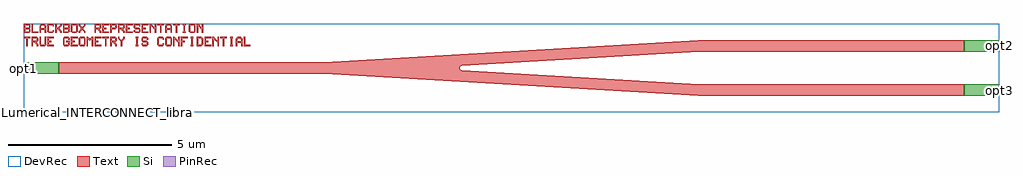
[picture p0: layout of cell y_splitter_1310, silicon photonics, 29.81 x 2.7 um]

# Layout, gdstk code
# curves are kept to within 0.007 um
import gdstk
lib = gdstk.Library(unit=1e-6, precision=1e-09)
def R(c, l, rs):  # rectangles x0, y0, x1, y1
    for r in rs: c.add(gdstk.rectangle(r[:2], r[2:], *l))
def P(c, l, *ps):  # polygons
    for p in ps: c.add(gdstk.Polygon(p, *l))
Si = (1, 0)
PinRec = (1, 10)
Text = (10, 0)
DevRec = (68, 0)

y_splitter_1310 = lib.new_cell('y_splitter_1310')
R(y_splitter_1310, Si, [(28.725,-0.85,29.791,-0.5), (0,-0.175,1.066,0.175), (28.725,0.5,29.791,0.85)])
P(y_splitter_1310, Text, [(0,1.07),(0,1.35),(0.16,1.35),(0.2,1.31),(0.04,1.31),(0.04,1.23),(0.14,1.23),(0.16,1.25),(0.16,1.29),(0.14,1.31),(0.2,1.31),(0.2,1.23),(0.18,1.21),(0.2,1.19),(0.04,1.19),(0.04,1.11),(0.14,1.11),(0.16,1.13),(0.16,1.17),(0.14,1.19),(0.2,1.19),(0.2,1.11),(0.16,1.07)],
  [(0.24,1.07),(0.24,1.35),(0.28,1.35),(0.28,1.11),(0.44,1.11),(0.44,1.07)],
  [(0.48,1.07),(0.48,1.29),(0.54,1.35),(0.62,1.35),(0.66,1.31),(0.56,1.31),(0.52,1.27),(0.52,1.21),(0.64,1.21),(0.64,1.27),(0.6,1.31),(0.66,1.31),(0.68,1.29),(0.68,1.07),(0.64,1.07),(0.64,1.17),(0.52,1.17),(0.52,1.07)],
  [(0.76,1.07),(0.72,1.11),(0.72,1.31),(0.76,1.35),(0.88,1.35),(0.92,1.31),(0.92,1.27),(0.88,1.27),(0.88,1.29),(0.86,1.31),(0.78,1.31),(0.76,1.29),(0.76,1.13),(0.78,1.11),(0.86,1.11),(0.88,1.13),(0.88,1.15),(0.92,1.15),(0.92,1.11),(0.88,1.07)],
  [(0.96,1.07),(0.96,1.35),(1,1.35),(1,1.23),(1.04,1.23),(1.12,1.31),(1.12,1.35),(1.16,1.35),(1.16,1.29),(1.08,1.21),(1.16,1.13),(1.16,1.07),(1.12,1.07),(1.12,1.11),(1.04,1.19),(1,1.19),(1,1.07)],
  [(1.2,1.07),(1.2,1.35),(1.36,1.35),(1.4,1.31),(1.24,1.31),(1.24,1.23),(1.34,1.23),(1.36,1.25),(1.36,1.29),(1.34,1.31),(1.4,1.31),(1.4,1.23),(1.38,1.21),(1.4,1.19),(1.24,1.19),(1.24,1.11),(1.34,1.11),(1.36,1.13),(1.36,1.17),(1.34,1.19),(1.4,1.19),(1.4,1.11),(1.36,1.07)],
  [(1.48,1.07),(1.44,1.11),(1.44,1.31),(1.48,1.35),(1.6,1.35),(1.64,1.31),(1.64,1.21),(1.6,1.21),(1.6,1.29),(1.58,1.31),(1.5,1.31),(1.48,1.29),(1.48,1.13),(1.5,1.11),(1.58,1.11),(1.6,1.13),(1.6,1.21),(1.64,1.21),(1.64,1.11),(1.6,1.07)],
  [(1.68,1.07),(1.68,1.13),(1.74,1.19),(1.74,1.23),(1.68,1.29),(1.68,1.35),(1.72,1.35),(1.72,1.31),(1.78,1.25),(1.84,1.31),(1.84,1.35),(1.88,1.35),(1.88,1.29),(1.82,1.23),(1.82,1.19),(1.88,1.13),(1.88,1.07),(1.84,1.07),(1.84,1.11),(1.78,1.17),(1.72,1.11),(1.72,1.07)],
  [(2.16,1.07),(2.16,1.35),(2.32,1.35),(2.36,1.31),(2.2,1.31),(2.2,1.23),(2.3,1.23),(2.32,1.25),(2.32,1.29),(2.3,1.31),(2.36,1.31),(2.36,1.23),(2.32,1.19),(2.32,1.17),(2.36,1.13),(2.36,1.07),(2.32,1.07),(2.32,1.11),(2.24,1.19),(2.2,1.19),(2.2,1.07)],
  [(2.4,1.07),(2.4,1.35),(2.6,1.35),(2.6,1.31),(2.44,1.31),(2.44,1.23),(2.52,1.23),(2.52,1.19),(2.44,1.19),(2.44,1.11),(2.6,1.11),(2.6,1.07)],
  [(2.64,1.07),(2.64,1.35),(2.8,1.35),(2.84,1.31),(2.84,1.23),(2.8,1.19),(2.68,1.19),(2.68,1.23),(2.78,1.23),(2.8,1.25),(2.8,1.29),(2.78,1.31),(2.68,1.31),(2.68,1.07)],
  [(2.88,1.07),(2.88,1.35),(3.04,1.35),(3.08,1.31),(2.92,1.31),(2.92,1.23),(3.02,1.23),(3.04,1.25),(3.04,1.29),(3.02,1.31),(3.08,1.31),(3.08,1.23),(3.04,1.19),(3.04,1.17),(3.08,1.13),(3.08,1.07),(3.04,1.07),(3.04,1.11),(2.96,1.19),(2.92,1.19),(2.92,1.07)],
  [(3.12,1.07),(3.12,1.35),(3.32,1.35),(3.32,1.31),(3.16,1.31),(3.16,1.23),(3.24,1.23),(3.24,1.19),(3.16,1.19),(3.16,1.11),(3.32,1.11),(3.32,1.07)],
  [(3.4,1.07),(3.36,1.11),(3.36,1.15),(3.4,1.15),(3.4,1.13),(3.42,1.11),(3.5,1.11),(3.52,1.13),(3.52,1.17),(3.5,1.19),(3.4,1.19),(3.36,1.23),(3.36,1.31),(3.4,1.35),(3.52,1.35),(3.56,1.31),(3.56,1.27),(3.52,1.27),(3.52,1.29),(3.5,1.31),(3.42,1.31),(3.4,1.29),(3.4,1.25),(3.42,1.23),(3.52,1.23),(3.56,1.19),(3.56,1.11),(3.52,1.07)],
  [(3.6,1.07),(3.6,1.35),(3.8,1.35),(3.8,1.31),(3.64,1.31),(3.64,1.23),(3.72,1.23),(3.72,1.19),(3.64,1.19),(3.64,1.11),(3.8,1.11),(3.8,1.07)],
  [(3.84,1.07),(3.84,1.35),(3.88,1.35),(3.98,1.25),(4,1.25),(4,1.35),(4.04,1.35),(4.04,1.07),(4,1.07),(4,1.17),(3.9,1.27),(3.88,1.27),(3.88,1.07)],
  [(4.16,1.07),(4.16,1.31),(4.08,1.31),(4.08,1.35),(4.28,1.35),(4.28,1.31),(4.2,1.31),(4.2,1.07)],
  [(4.32,1.07),(4.32,1.29),(4.38,1.35),(4.46,1.35),(4.5,1.31),(4.4,1.31),(4.36,1.27),(4.36,1.21),(4.48,1.21),(4.48,1.27),(4.44,1.31),(4.5,1.31),(4.52,1.29),(4.52,1.07),(4.48,1.07),(4.48,1.17),(4.36,1.17),(4.36,1.07)],
  [(4.64,1.07),(4.64,1.31),(4.56,1.31),(4.56,1.35),(4.76,1.35),(4.76,1.31),(4.68,1.31),(4.68,1.07)],
  [(4.86,1.07),(4.86,1.11),(4.88,1.11),(4.88,1.31),(4.86,1.31),(4.86,1.35),(4.94,1.35),(4.94,1.31),(4.92,1.31),(4.92,1.11),(4.94,1.11),(4.94,1.07)],
  [(5.08,1.07),(5.04,1.11),(5.04,1.31),(5.08,1.35),(5.2,1.35),(5.24,1.31),(5.24,1.21),(5.2,1.21),(5.2,1.29),(5.18,1.31),(5.1,1.31),(5.08,1.29),(5.08,1.13),(5.1,1.11),(5.18,1.11),(5.2,1.13),(5.2,1.21),(5.24,1.21),(5.24,1.11),(5.2,1.07)],
  [(5.28,1.07),(5.28,1.35),(5.32,1.35),(5.42,1.25),(5.44,1.25),(5.44,1.35),(5.48,1.35),(5.48,1.07),(5.44,1.07),(5.44,1.17),(5.34,1.27),(5.32,1.27),(5.32,1.07)],
  [(0.08,0.67),(0.08,0.91),(0,0.91),(0,0.95),(0.2,0.95),(0.2,0.91),(0.12,0.91),(0.12,0.67)],
  [(0.24,0.67),(0.24,0.95),(0.4,0.95),(0.44,0.91),(0.28,0.91),(0.28,0.83),(0.38,0.83),(0.4,0.85),(0.4,0.89),(0.38,0.91),(0.44,0.91),(0.44,0.83),(0.4,0.79),(0.4,0.77),(0.44,0.73),(0.44,0.67),(0.4,0.67),(0.4,0.71),(0.32,0.79),(0.28,0.79),(0.28,0.67)],
  [(0.52,0.67),(0.48,0.71),(0.48,0.95),(0.52,0.95),(0.52,0.73),(0.54,0.71),(0.62,0.71),(0.64,0.73),(0.64,0.95),(0.68,0.95),(0.68,0.71),(0.64,0.67)],
  [(0.72,0.67),(0.72,0.95),(0.92,0.95),(0.92,0.91),(0.76,0.91),(0.76,0.83),(0.84,0.83),(0.84,0.79),(0.76,0.79),(0.76,0.71),(0.92,0.71),(0.92,0.67)],
  [(1.24,0.67),(1.2,0.71),(1.2,0.91),(1.24,0.95),(1.36,0.95),(1.4,0.91),(1.4,0.87),(1.36,0.87),(1.36,0.89),(1.34,0.91),(1.26,0.91),(1.24,0.89),(1.24,0.73),(1.26,0.71),(1.34,0.71),(1.36,0.73),(1.36,0.79),(1.3,0.79),(1.3,0.83),(1.4,0.83),(1.4,0.71),(1.36,0.67)],
  [(1.44,0.67),(1.44,0.95),(1.64,0.95),(1.64,0.91),(1.48,0.91),(1.48,0.83),(1.56,0.83),(1.56,0.79),(1.48,0.79),(1.48,0.71),(1.64,0.71),(1.64,0.67)],
  [(1.72,0.67),(1.68,0.71),(1.68,0.91),(1.72,0.95),(1.84,0.95),(1.88,0.91),(1.88,0.81),(1.84,0.81),(1.84,0.89),(1.82,0.91),(1.74,0.91),(1.72,0.89),(1.72,0.73),(1.74,0.71),(1.82,0.71),(1.84,0.73),(1.84,0.81),(1.88,0.81),(1.88,0.71),(1.84,0.67)],
  [(1.92,0.67),(1.92,0.95),(1.96,0.95),(2,0.91),(2.04,0.91),(2.08,0.95),(2.12,0.95),(2.12,0.67),(2.08,0.67),(2.08,0.87),(2.06,0.87),(2.02,0.83),(1.98,0.87),(1.96,0.87),(1.96,0.67)],
  [(2.16,0.67),(2.16,0.95),(2.36,0.95),(2.36,0.91),(2.2,0.91),(2.2,0.83),(2.28,0.83),(2.28,0.79),(2.2,0.79),(2.2,0.71),(2.36,0.71),(2.36,0.67)],
  [(2.48,0.67),(2.48,0.91),(2.4,0.91),(2.4,0.95),(2.6,0.95),(2.6,0.91),(2.52,0.91),(2.52,0.67)],
  [(2.64,0.67),(2.64,0.95),(2.8,0.95),(2.84,0.91),(2.68,0.91),(2.68,0.83),(2.78,0.83),(2.8,0.85),(2.8,0.89),(2.78,0.91),(2.84,0.91),(2.84,0.83),(2.8,0.79),(2.8,0.77),(2.84,0.73),(2.84,0.67),(2.8,0.67),(2.8,0.71),(2.72,0.79),(2.68,0.79),(2.68,0.67)],
  [(2.96,0.67),(2.96,0.81),(2.88,0.89),(2.88,0.95),(2.92,0.95),(2.92,0.91),(2.98,0.85),(3.04,0.91),(3.04,0.95),(3.08,0.95),(3.08,0.89),(3,0.81),(3,0.67)],
  [(3.42,0.67),(3.42,0.71),(3.44,0.71),(3.44,0.91),(3.42,0.91),(3.42,0.95),(3.5,0.95),(3.5,0.91),(3.48,0.91),(3.48,0.71),(3.5,0.71),(3.5,0.67)],
  [(3.64,0.67),(3.6,0.71),(3.6,0.75),(3.64,0.75),(3.64,0.73),(3.66,0.71),(3.74,0.71),(3.76,0.73),(3.76,0.77),(3.74,0.79),(3.64,0.79),(3.6,0.83),(3.6,0.91),(3.64,0.95),(3.76,0.95),(3.8,0.91),(3.8,0.87),(3.76,0.87),(3.76,0.89),(3.74,0.91),(3.66,0.91),(3.64,0.89),(3.64,0.85),(3.66,0.83),(3.76,0.83),(3.8,0.79),(3.8,0.71),(3.76,0.67)],
  [(4.12,0.67),(4.08,0.71),(4.08,0.91),(4.12,0.95),(4.24,0.95),(4.28,0.91),(4.28,0.87),(4.24,0.87),(4.24,0.89),(4.22,0.91),(4.14,0.91),(4.12,0.89),(4.12,0.73),(4.14,0.71),(4.22,0.71),(4.24,0.73),(4.24,0.75),(4.28,0.75),(4.28,0.71),(4.24,0.67)],
  [(4.36,0.67),(4.32,0.71),(4.32,0.91),(4.36,0.95),(4.48,0.95),(4.52,0.91),(4.52,0.81),(4.48,0.81),(4.48,0.89),(4.46,0.91),(4.38,0.91),(4.36,0.89),(4.36,0.73),(4.38,0.71),(4.46,0.71),(4.48,0.73),(4.48,0.81),(4.52,0.81),(4.52,0.71),(4.48,0.67)],
  [(4.56,0.67),(4.56,0.95),(4.6,0.95),(4.7,0.85),(4.72,0.85),(4.72,0.95),(4.76,0.95),(4.76,0.67),(4.72,0.67),(4.72,0.77),(4.62,0.87),(4.6,0.87),(4.6,0.67)],
  [(4.8,0.67),(4.8,0.95),(5,0.95),(5,0.91),(4.84,0.91),(4.84,0.83),(4.92,0.83),(4.92,0.79),(4.84,0.79),(4.84,0.67)],
  [(5.1,0.67),(5.1,0.71),(5.12,0.71),(5.12,0.91),(5.1,0.91),(5.1,0.95),(5.18,0.95),(5.18,0.91),(5.16,0.91),(5.16,0.71),(5.18,0.71),(5.18,0.67)],
  [(5.28,0.67),(5.28,0.95),(5.42,0.95),(5.46,0.91),(5.32,0.91),(5.32,0.71),(5.4,0.71),(5.44,0.75),(5.44,0.87),(5.4,0.91),(5.46,0.91),(5.48,0.89),(5.48,0.73),(5.42,0.67)],
  [(5.52,0.67),(5.52,0.95),(5.72,0.95),(5.72,0.91),(5.56,0.91),(5.56,0.83),(5.64,0.83),(5.64,0.79),(5.56,0.79),(5.56,0.71),(5.72,0.71),(5.72,0.67)],
  [(5.76,0.67),(5.76,0.95),(5.8,0.95),(5.9,0.85),(5.92,0.85),(5.92,0.95),(5.96,0.95),(5.96,0.67),(5.92,0.67),(5.92,0.77),(5.82,0.87),(5.8,0.87),(5.8,0.67)],
  [(6.08,0.67),(6.08,0.91),(6,0.91),(6,0.95),(6.2,0.95),(6.2,0.91),(6.12,0.91),(6.12,0.67)],
  [(6.3,0.67),(6.3,0.71),(6.32,0.71),(6.32,0.91),(6.3,0.91),(6.3,0.95),(6.38,0.95),(6.38,0.91),(6.36,0.91),(6.36,0.71),(6.38,0.71),(6.38,0.67)],
  [(6.48,0.67),(6.48,0.89),(6.54,0.95),(6.62,0.95),(6.66,0.91),(6.56,0.91),(6.52,0.87),(6.52,0.81),(6.64,0.81),(6.64,0.87),(6.6,0.91),(6.66,0.91),(6.68,0.89),(6.68,0.67),(6.64,0.67),(6.64,0.77),(6.52,0.77),(6.52,0.67)],
  [(6.72,0.67),(6.72,0.95),(6.76,0.95),(6.76,0.71),(6.92,0.71),(6.92,0.67)],
  [(20.593,-0.85),(9.178,-0.175),(1.066,-0.175),(1.066,0.175),(9.178,0.175),(20.593,0.85),(28.725,0.85),(28.725,0.5),(20.613,0.5),(13.365,0.071),(13.323,0.044),(13.308,-0.004),(13.328,-0.05),(13.372,-0.072),(20.613,-0.5),(28.725,-0.5),(28.725,-0.85)])
R(y_splitter_1310, DevRec, [(0,-1.35,29.791,1.35)])
y_splitter_1310.add(gdstk.FlexPath([(0.01,0),(-0.01,0)], 0.35, ends="flush", simple_path=True, layer=1, datatype=10))  # PinRec
y_splitter_1310.add(gdstk.FlexPath([(29.781,0.675),(29.801,0.675)], 0.35, ends="flush", simple_path=True, layer=1, datatype=10))  # PinRec
y_splitter_1310.add(gdstk.FlexPath([(29.781,-0.675),(29.801,-0.675)], 0.35, ends="flush", simple_path=True, layer=1, datatype=10))  # PinRec
y_splitter_1310.add(gdstk.Label('Lumerical_INTERCONNECT_library=Custom/SiEPICfab_Shuksan_PDK', (0,-1.35), layer=68, texttype=0))
y_splitter_1310.add(gdstk.Label('Component=y_splitter_1310', (0,-1.25), layer=68, texttype=0))
y_splitter_1310.add(gdstk.Label('opt1', (0,0), layer=1, texttype=10))
y_splitter_1310.add(gdstk.Label('opt2', (29.791,0.675), layer=1, texttype=10))
y_splitter_1310.add(gdstk.Label('opt3', (29.791,-0.675), layer=1, texttype=10))

lib.write_gds('y_splitter_1310.gds')
